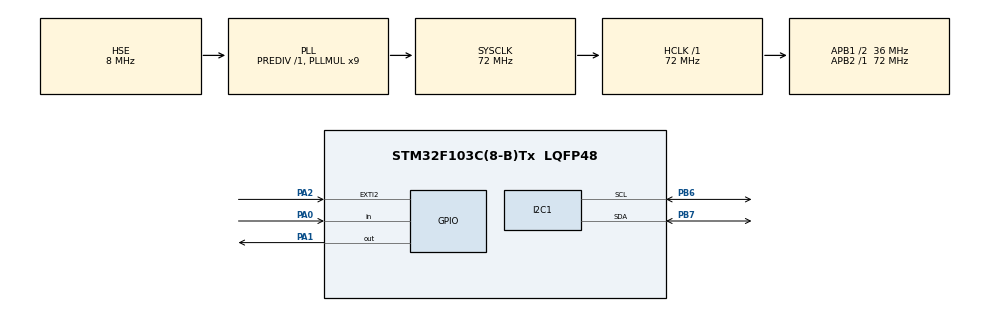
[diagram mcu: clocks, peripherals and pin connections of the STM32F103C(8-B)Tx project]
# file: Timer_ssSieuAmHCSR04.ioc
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Mcu.Family=STM32F1
Mcu.Name=STM32F103C(8-B)Tx
Mcu.Package=LQFP48
NVIC.EXTI2_IRQn=true\:1\:0\:true\:false\:true\:true\:true\:true
NVIC.PriorityGroup=NVIC_PRIORITYGROUP_4
NVIC.TIM1_BRK_IRQn=true\:1\:0\:true\:false\:true\:true\:true\:true
NVIC.TIM1_UP_IRQn=true\:1\:0\:true\:false\:true\:true\:true\:true
PA0-WKUP.GPIO_PuPd=GPIO_PULLUP
PA0-WKUP.Signal=GPIO_Input
PA1.Signal=GPIO_Output
PA13.Mode=Serial_Wire
PA13.Signal=SYS_JTMS-SWDIO
PA14.Mode=Serial_Wire
PA14.Signal=SYS_JTCK-SWCLK
PA2.GPIO_ModeDefaultEXTI=GPIO_MODE_IT_RISING_FALLING
PA2.GPIO_PuPd=GPIO_PULLDOWN
PA2.Signal=GPXTI2
PB6.Mode=I2C
PB6.Signal=I2C1_SCL
PB7.Mode=I2C
PB7.Signal=I2C1_SDA
PD0-OSC_IN.Mode=HSE-External-Oscillator
PD0-OSC_IN.Signal=RCC_OSC_IN
PD1-OSC_OUT.Mode=HSE-External-Oscillator
PD1-OSC_OUT.Signal=RCC_OSC_OUT
ProjectManager.HeapSize=0x200
ProjectManager.StackSize=0x400
ProjectManager.TargetToolchain=MDK-ARM V5.27
RCC.AHBFreq_Value=72000000
RCC.APB1CLKDivider=RCC_HCLK_DIV2
RCC.APB1Freq_Value=36000000
RCC.APB1TimFreq_Value=72000000
RCC.APB2Freq_Value=72000000
RCC.APB2TimFreq_Value=72000000
RCC.HCLKFreq_Value=72000000
RCC.PLLMUL=RCC_PLL_MUL9
RCC.PLLSourceVirtual=RCC_PLLSOURCE_HSE
RCC.SYSCLKFreq_VALUE=72000000
RCC.SYSCLKSource=RCC_SYSCLKSOURCE_PLLCLK
RCC.USBFreq_Value=72000000
TIM1.Period=39999
TIM1.Prescaler=71
VP_TIM1_VS_ClockSourceINT.Mode=Internal
board=custom

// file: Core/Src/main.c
/* USER CODE BEGIN Header */
/**
  ******************************************************************************
  * @file           : main.c
  * @brief          : Main program body
  ******************************************************************************
  * @attention
  *
  * <h2><center>&copy; Copyright (c) 2024 STMicroelectronics.
  * All rights reserved.</center></h2>
  *
  * This software component is licensed by ST under BSD 3-Clause license,
  * the "License"; You may not use this file except in compliance with the
  * License. You may obtain a copy of the License at:
  *                        opensource.org/licenses/BSD-3-Clause
  *
  ******************************************************************************
  */
/* USER CODE END Header */
#include "main.h"

/* USER CODE BEGIN Includes */
#include "stdio.h"
#include "NutNhan.h"
#include "i2c-lcd.h"
/* USER CODE END Includes */

I2C_HandleTypeDef hi2c1;

TIM_HandleTypeDef htim1;

void SystemClock_Config(void);
static void MX_GPIO_Init(void);
static void MX_TIM1_Init(void);
static void MX_I2C1_Init(void);

/* USER CODE BEGIN 0 */

float distance;
float calip=0;
uint32_t pre_tick=0;
 uint8_t cnt;
 uint8_t cntA;
 uint16_t dis;
char buff[50];

void NUTNHAN_callback()
{
	calip= 0.017*dis;
}

void HAL_GPIO_EXTI_Callback(uint16_t GPIO_Pin)
{
	if(GPIO_Pin == GPIO_PIN_2)
	{
		if( HAL_GPIO_ReadPin(GPIOA, GPIO_PIN_2)==1)
		{
			htim1.Instance->CNT=0;
			HAL_TIM_Base_Start(&htim1);
		}
		else if(HAL_GPIO_ReadPin(GPIOA, GPIO_PIN_2)==0)
		{
			HAL_TIM_Base_Stop(&htim1);
			dis=htim1.Instance->CNT;
			distance = 0.017*dis-calip;
		}
	}
}

void HCSR04_Start()
{
	HAL_GPIO_WritePin(GPIOA,GPIO_PIN_1,GPIO_PIN_SET);
	HAL_Delay(1);
	HAL_GPIO_WritePin(GPIOA,GPIO_PIN_1,GPIO_PIN_RESET);
}

/* USER CODE END 0 */

int main(void)
{

  /* MCU Configuration--------------------------------------------------------*/

  /* Reset of all peripherals, Initializes the Flash interface and the Systick. */
  HAL_Init();

  /* Configure the system clock */
  SystemClock_Config();

  /* Initialize all configured peripherals */
  MX_GPIO_Init();
  MX_TIM1_Init();
  MX_I2C1_Init();
  /* USER CODE BEGIN 2 */
	HAL_Delay(1000);
	lcd_init();
	lcd_goto_XY(1,0);
	lcd_send_string("/*-QUANG HUY-*/");
	lcd_goto_XY(2,2);
	lcd_send_string("DIS: ");
	lcd_goto_XY(2,13);
	lcd_send_string("cm");

  /* USER CODE END 2 */

  /* Infinite loop */
  /* USER CODE BEGIN WHILE */
  while (1)
  {
		NUTNHAN(GPIOA, GPIO_PIN_0);
		if(HAL_GetTick()-pre_tick >= 500)
		{
			pre_tick=HAL_GetTick();

			sprintf(buff, "%.2f",distance );
			lcd_goto_XY(2,7);
			lcd_send_string(buff);

			HCSR04_Start();

		}
    /* USER CODE END WHILE */

  }
}

void SystemClock_Config(void)
{
  RCC_OscInitTypeDef RCC_OscInitStruct = {0};
  RCC_ClkInitTypeDef RCC_ClkInitStruct = {0};

  /** Initializes the RCC Oscillators according to the specified parameters
  * in the RCC_OscInitTypeDef structure.
  */
  RCC_OscInitStruct.OscillatorType = RCC_OSCILLATORTYPE_HSE;
  RCC_OscInitStruct.HSEState = RCC_HSE_ON;
  RCC_OscInitStruct.HSEPredivValue = RCC_HSE_PREDIV_DIV1;
  RCC_OscInitStruct.HSIState = RCC_HSI_ON;
  RCC_OscInitStruct.PLL.PLLState = RCC_PLL_ON;
  RCC_OscInitStruct.PLL.PLLSource = RCC_PLLSOURCE_HSE;
  RCC_OscInitStruct.PLL.PLLMUL = RCC_PLL_MUL9;
  if (HAL_RCC_OscConfig(&RCC_OscInitStruct) != HAL_OK)
  {
    Error_Handler();
  }

  /** Initializes the CPU, AHB and APB buses clocks
  */
  RCC_ClkInitStruct.ClockType = RCC_CLOCKTYPE_HCLK|RCC_CLOCKTYPE_SYSCLK
                              |RCC_CLOCKTYPE_PCLK1|RCC_CLOCKTYPE_PCLK2;
  RCC_ClkInitStruct.SYSCLKSource = RCC_SYSCLKSOURCE_PLLCLK;
  RCC_ClkInitStruct.AHBCLKDivider = RCC_SYSCLK_DIV1;
  RCC_ClkInitStruct.APB1CLKDivider = RCC_HCLK_DIV2;
  RCC_ClkInitStruct.APB2CLKDivider = RCC_HCLK_DIV1;

  if (HAL_RCC_ClockConfig(&RCC_ClkInitStruct, FLASH_LATENCY_2) != HAL_OK)
  {
    Error_Handler();
  }
}

static void MX_I2C1_Init(void)
{

  hi2c1.Instance = I2C1;
  hi2c1.Init.ClockSpeed = 100000;
  hi2c1.Init.DutyCycle = I2C_DUTYCYCLE_2;
  hi2c1.Init.OwnAddress1 = 0;
  hi2c1.Init.AddressingMode = I2C_ADDRESSINGMODE_7BIT;
  hi2c1.Init.DualAddressMode = I2C_DUALADDRESS_DISABLE;
  hi2c1.Init.OwnAddress2 = 0;
  hi2c1.Init.GeneralCallMode = I2C_GENERALCALL_DISABLE;
  hi2c1.Init.NoStretchMode = I2C_NOSTRETCH_DISABLE;
  if (HAL_I2C_Init(&hi2c1) != HAL_OK)
  {
    Error_Handler();
  }

}

static void MX_TIM1_Init(void)
{

  TIM_ClockConfigTypeDef sClockSourceConfig = {0};
  TIM_MasterConfigTypeDef sMasterConfig = {0};

  htim1.Instance = TIM1;
  htim1.Init.Prescaler = 71;
  htim1.Init.CounterMode = TIM_COUNTERMODE_UP;
  htim1.Init.Period = 39999;
  htim1.Init.ClockDivision = TIM_CLOCKDIVISION_DIV1;
  htim1.Init.RepetitionCounter = 0;
  htim1.Init.AutoReloadPreload = TIM_AUTORELOAD_PRELOAD_DISABLE;
  if (HAL_TIM_Base_Init(&htim1) != HAL_OK)
  {
    Error_Handler();
  }
  sClockSourceConfig.ClockSource = TIM_CLOCKSOURCE_INTERNAL;
  if (HAL_TIM_ConfigClockSource(&htim1, &sClockSourceConfig) != HAL_OK)
  {
    Error_Handler();
  }
  sMasterConfig.MasterOutputTrigger = TIM_TRGO_RESET;
  sMasterConfig.MasterSlaveMode = TIM_MASTERSLAVEMODE_DISABLE;
  if (HAL_TIMEx_MasterConfigSynchronization(&htim1, &sMasterConfig) != HAL_OK)
  {
    Error_Handler();
  }

}

static void MX_GPIO_Init(void)
{
  GPIO_InitTypeDef GPIO_InitStruct = {0};

  /* GPIO Ports Clock Enable */
  __HAL_RCC_GPIOD_CLK_ENABLE();
  __HAL_RCC_GPIOA_CLK_ENABLE();
  __HAL_RCC_GPIOB_CLK_ENABLE();

  /*Configure GPIO pin Output Level */
  HAL_GPIO_WritePin(GPIOA, GPIO_PIN_1, GPIO_PIN_RESET);

  /*Configure GPIO pin : PA0 */
  GPIO_InitStruct.Pin = GPIO_PIN_0;
  GPIO_InitStruct.Mode = GPIO_MODE_INPUT;
  GPIO_InitStruct.Pull = GPIO_PULLUP;
  HAL_GPIO_Init(GPIOA, &GPIO_InitStruct);

  /*Configure GPIO pin : PA1 */
  GPIO_InitStruct.Pin = GPIO_PIN_1;
  GPIO_InitStruct.Mode = GPIO_MODE_OUTPUT_PP;
  GPIO_InitStruct.Pull = GPIO_NOPULL;
  GPIO_InitStruct.Speed = GPIO_SPEED_FREQ_LOW;
  HAL_GPIO_Init(GPIOA, &GPIO_InitStruct);

  /*Configure GPIO pin : PA2 */
  GPIO_InitStruct.Pin = GPIO_PIN_2;
  GPIO_InitStruct.Mode = GPIO_MODE_IT_RISING_FALLING;
  GPIO_InitStruct.Pull = GPIO_PULLDOWN;
  HAL_GPIO_Init(GPIOA, &GPIO_InitStruct);

  /* EXTI interrupt init*/
  HAL_NVIC_SetPriority(EXTI2_IRQn, 1, 0);
  HAL_NVIC_EnableIRQ(EXTI2_IRQn);

}

void Error_Handler(void)
{
  __disable_irq();
  while (1)
  {
  }
}
